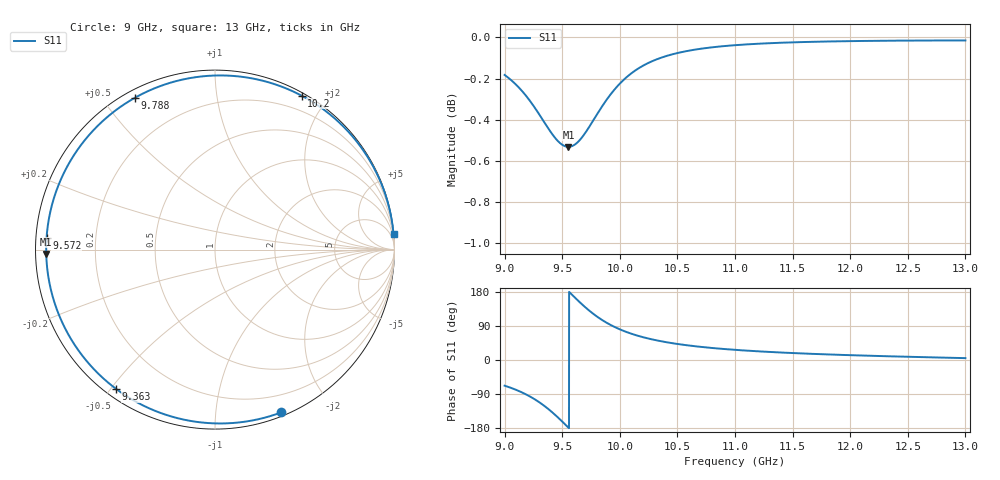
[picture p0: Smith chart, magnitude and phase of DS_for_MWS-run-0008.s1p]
! TOUCHSTONE file generated by CST DESIGN STUDIO
! Date and time: Tue Feb  4 16:40:00 2025
! Project name: C:\Work\MatlabApps\UnitCellOptimizationMatlab\CST\unitcell.cst
! Tree item: Tasks\Sweep1\SPara1\S-Parameters
! Header version: 2024
! Port assignment regex: !\s*Touchstone port\s*([0-9]+)\s*=\s*(CST MWS port|CST DES external port|CST DES block port)\s*(.+)\s* \(\"(.*)\"\)(\s*mode\s*([0-9]+))?.*
! Touchstone port assignment:
! Touchstone port 1 = CST DES external port 1 ("")
# GHz S MA R 50
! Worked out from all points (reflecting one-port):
!   4001 points, 9 GHz to 13 GHz, reference 50 ohm
!   lowest |S11| = -0.5 dB at 9.554 GHz (marker M1), VSWR 32.68, Z = 1.53 - j0.664 ohm
!   phase of S11 starts at -68 deg and turns -287 deg over the sweep
!   S11 on the Smith chart (normalised r, x): 9 GHz: 0.03, -1.49; 9.363 GHz: 0.03, -0.52; 9.572 GHz: 0.03, +0.03; 9.788 GHz: 0.03, +0.60; 10.2 GHz: 0.03, +1.71; 13 GHz: 0, +23
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9  0.9792 -67.8
9.039  0.9773 -71.8
9.105  0.9736 -79.4
9.217  0.9654 -95.8
9.294  0.9585 -110.1
9.363  0.9519 -125.4
9.429  0.9461 -142.2
9.5  0.9417 -162.3
9.554  0.9406 -178.5
9.572  0.9407 176.1
9.627  0.9426 159.7
9.687  0.9468 142.7
9.737  0.9514 129.7
9.788  0.9565 117.7
9.834  0.961 108.0
9.883  0.9655 98.8
9.937  0.97 89.9
10  0.9745 80.9
10.094  0.9798 70.0
10.196  0.9841 60.6
10.335  0.9882 50.9
10.5  0.9913 42.3
10.721  0.9939 34.1
11  0.9957 26.8
11.5  0.9973 18.3
12  0.998 12.7
12.5  0.9982 8.5
13  0.9983 5.0
